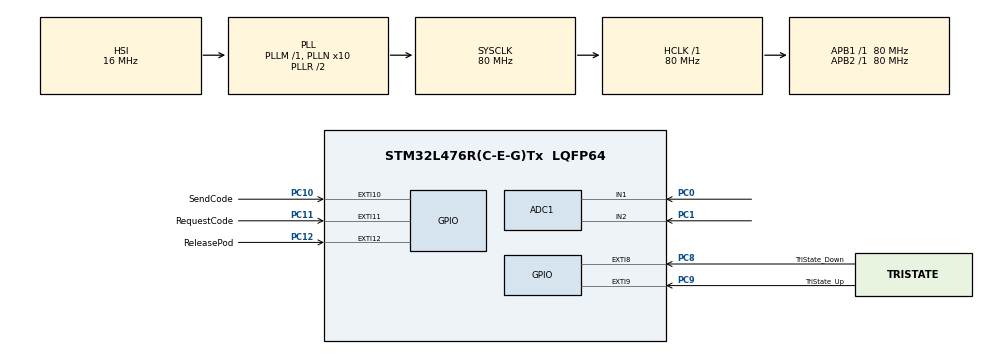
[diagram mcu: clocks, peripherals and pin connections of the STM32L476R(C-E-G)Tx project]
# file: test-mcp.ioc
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ADC1.Channel-0\#ChannelRegularConversion=ADC_CHANNEL_1
ADC1.Channel-1\#ChannelRegularConversion=ADC_CHANNEL_2
ADC1.NbrOfConversion=2
ADC1.NbrOfConversionFlag=1
ADC1.OffsetNumber-0\#ChannelRegularConversion=ADC_OFFSET_NONE
ADC1.OffsetNumber-1\#ChannelRegularConversion=ADC_OFFSET_NONE
ADC1.Rank-0\#ChannelRegularConversion=1
ADC1.Rank-1\#ChannelRegularConversion=2
ADC1.SamplingTime-0\#ChannelRegularConversion=ADC_SAMPLETIME_640CYCLES_5
ADC1.SamplingTime-1\#ChannelRegularConversion=ADC_SAMPLETIME_640CYCLES_5
ADC1.master=1
Dma.ADC1.0.Direction=DMA_PERIPH_TO_MEMORY
Dma.ADC1.0.Instance=DMA1_Channel1
Dma.ADC1.0.MemDataAlignment=DMA_MDATAALIGN_HALFWORD
Dma.ADC1.0.MemInc=DMA_MINC_ENABLE
Dma.ADC1.0.Mode=DMA_NORMAL
Dma.ADC1.0.PeriphDataAlignment=DMA_PDATAALIGN_HALFWORD
Dma.ADC1.0.PeriphInc=DMA_PINC_DISABLE
Dma.ADC1.0.Priority=DMA_PRIORITY_LOW
Dma.Request0=ADC1
Mcu.Family=STM32L4
Mcu.Name=STM32L476R(C-E-G)Tx
Mcu.Package=LQFP64
NVIC.ADC1_2_IRQn=true\:0\:0\:false\:false\:true\:true\:true\:true
NVIC.DMA1_Channel1_IRQn=true\:0\:0\:false\:false\:true\:false\:true\:true
NVIC.EXTI15_10_IRQn=true\:0\:0\:false\:false\:true\:true\:true\:true
NVIC.EXTI9_5_IRQn=true\:0\:0\:false\:false\:true\:true\:true\:true
NVIC.PriorityGroup=NVIC_PRIORITYGROUP_4
PA13\ (JTMS-SWDIO).Mode=Serial_Wire
PA13\ (JTMS-SWDIO).Signal=SYS_JTMS-SWDIO
PA14\ (JTCK-SWCLK).Mode=Serial_Wire
PA14\ (JTCK-SWCLK).Signal=SYS_JTCK-SWCLK
PC0.Signal=ADCx_IN1
PC1.Signal=ADCx_IN2
PC10.GPIO_Label=SendCode
PC10.Signal=GPXTI10
PC11.GPIO_Label=RequestCode
PC11.Signal=GPXTI11
PC12.GPIO_Label=ReleasePod
PC12.Signal=GPXTI12
PC8.GPIO_Label=TriState_Down
PC8.Signal=GPXTI8
PC9.GPIO_Label=TriState_Up
PC9.Signal=GPXTI9
ProjectManager.HeapSize=0x200
ProjectManager.StackSize=0x400
ProjectManager.TargetToolchain=STM32CubeIDE
RCC.ADCFreq_Value=64000000
RCC.AHBFreq_Value=80000000
RCC.APB1Freq_Value=80000000
RCC.APB1TimFreq_Value=80000000
RCC.APB2Freq_Value=80000000
RCC.APB2TimFreq_Value=80000000
RCC.CortexFreq_Value=80000000
RCC.HCLKFreq_Value=80000000
RCC.HSE_VALUE=8000000
RCC.HSI_VALUE=16000000
RCC.LSE_VALUE=32768
RCC.MSI_VALUE=4000000
RCC.PLLN=10
RCC.PLLSourceVirtual=RCC_PLLSOURCE_HSI
RCC.SYSCLKFreq_VALUE=80000000
RCC.SYSCLKSource=RCC_SYSCLKSOURCE_PLLCLK
RCC.USBFreq_Value=64000000
RCC.VCOOutputFreq_Value=160000000
SH.ADCx_IN1.0=ADC1_IN1,IN1-Single-Ended
SH.ADCx_IN2.0=ADC1_IN2,IN2-Single-Ended
board=custom

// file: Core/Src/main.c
/* USER CODE BEGIN Header */
/**
  ******************************************************************************
  * @file           : main.c
  * @brief          : Main program body
  ******************************************************************************
  * @attention
  *
  * Copyright (c) 2024 STMicroelectronics.
  * All rights reserved.
  *
  * This software is licensed under terms that can be found in the LICENSE file
  * in the root directory of this software component.
  * If no LICENSE file comes with this software, it is provided AS-IS.
  *
  ******************************************************************************
  */
/* USER CODE END Header */
#include "main.h"

/* USER CODE BEGIN Includes */
#include "Custom/util.h"
#include "Custom/timed-lock.h"
/* USER CODE END Includes */

ADC_HandleTypeDef hadc1;
DMA_HandleTypeDef hdma_adc1;

/* USER CODE BEGIN PV */
timed_lock_t send_code_lock, req_code_lock, release_pod_lock, tristate_lock;
volatile uint32_t n_send_code = 0, n_req_code = 0, n_release_pod = 0;
volatile tristate_t tristate = TRISTATE_UNDEF;
volatile uint16_t adc_data[2] = {0};
stepper_motor_t stepper;
/* USER CODE END PV */

void SystemClock_Config(void);
static void MX_GPIO_Init(void);
static void MX_DMA_Init(void);
static void MX_ADC1_Init(void);

/* USER CODE BEGIN 0 */
void HAL_GPIO_EXTI_Callback(uint16_t pin) {
  switch (pin) {
  case SendCode_Pin:
	  timed_lock_call(&send_code_lock, HAL_GetTick());
	  break;
  case RequestCode_Pin:
  	  timed_lock_call(&req_code_lock, HAL_GetTick());
  	  break;
  case ReleasePod_Pin:
  	  timed_lock_call(&release_pod_lock, HAL_GetTick());
  	  break;
  case TriState_Up_Pin:
  case TriState_Down_Pin:
	  timed_lock_call(&tristate_lock, HAL_GetTick());
	  break;
  }
}

void on_send_code(void) {
	n_send_code++;
	start_adc();
}

void on_request_code(void) {
	n_req_code++;
	start_adc();
}

void on_release_pod(void) {
	n_release_pod++;
	start_adc();
}

void start_adc(void) {
	HAL_ADC_Start_DMA(&hadc1, (uint16_t *) adc_data, 2);
}

// handler to tri-state switch toggle
void on_tristate_toggle(void) {
	// read switch position
	tristate_t switch_position = read_tristate_pins(TriState_Down_GPIO_Port, TriState_Down_Pin, TriState_Up_GPIO_Port, TriState_Up_Pin);

	// calculate new state using switch as the transition
	tristate = tristate_transition(tristate, switch_position);
}

void setup(void) {
	timed_lock_init(&send_code_lock, 10, on_send_code);
	timed_lock_init(&req_code_lock, 10, on_request_code);
	timed_lock_init(&release_pod_lock, 10, on_release_pod);
	timed_lock_init(&tristate_lock, 10, on_tristate_toggle);
}

void loop(void) {

}
/* USER CODE END 0 */

int main(void)
{

  /* MCU Configuration--------------------------------------------------------*/

  /* Reset of all peripherals, Initializes the Flash interface and the Systick. */
  HAL_Init();

  /* Configure the system clock */
  SystemClock_Config();

  /* Initialize all configured peripherals */
  MX_GPIO_Init();
  MX_DMA_Init();
  MX_ADC1_Init();
  /* USER CODE BEGIN 2 */
  setup();
  /* USER CODE END 2 */

  /* Infinite loop */
  /* USER CODE BEGIN WHILE */
  while (1)
  {
	loop();
    /* USER CODE END WHILE */

  }
}

void SystemClock_Config(void)
{
  RCC_OscInitTypeDef RCC_OscInitStruct = {0};
  RCC_ClkInitTypeDef RCC_ClkInitStruct = {0};

  /** Configure the main internal regulator output voltage
  */
  if (HAL_PWREx_ControlVoltageScaling(PWR_REGULATOR_VOLTAGE_SCALE1) != HAL_OK)
  {
    Error_Handler();
  }

  /** Initializes the RCC Oscillators according to the specified parameters
  * in the RCC_OscInitTypeDef structure.
  */
  RCC_OscInitStruct.OscillatorType = RCC_OSCILLATORTYPE_HSI;
  RCC_OscInitStruct.HSIState = RCC_HSI_ON;
  RCC_OscInitStruct.HSICalibrationValue = RCC_HSICALIBRATION_DEFAULT;
  RCC_OscInitStruct.PLL.PLLState = RCC_PLL_ON;
  RCC_OscInitStruct.PLL.PLLSource = RCC_PLLSOURCE_HSI;
  RCC_OscInitStruct.PLL.PLLM = 1;
  RCC_OscInitStruct.PLL.PLLN = 10;
  RCC_OscInitStruct.PLL.PLLP = RCC_PLLP_DIV7;
  RCC_OscInitStruct.PLL.PLLQ = RCC_PLLQ_DIV2;
  RCC_OscInitStruct.PLL.PLLR = RCC_PLLR_DIV2;
  if (HAL_RCC_OscConfig(&RCC_OscInitStruct) != HAL_OK)
  {
    Error_Handler();
  }

  /** Initializes the CPU, AHB and APB buses clocks
  */
  RCC_ClkInitStruct.ClockType = RCC_CLOCKTYPE_HCLK|RCC_CLOCKTYPE_SYSCLK
                              |RCC_CLOCKTYPE_PCLK1|RCC_CLOCKTYPE_PCLK2;
  RCC_ClkInitStruct.SYSCLKSource = RCC_SYSCLKSOURCE_PLLCLK;
  RCC_ClkInitStruct.AHBCLKDivider = RCC_SYSCLK_DIV1;
  RCC_ClkInitStruct.APB1CLKDivider = RCC_HCLK_DIV1;
  RCC_ClkInitStruct.APB2CLKDivider = RCC_HCLK_DIV1;

  if (HAL_RCC_ClockConfig(&RCC_ClkInitStruct, FLASH_LATENCY_4) != HAL_OK)
  {
    Error_Handler();
  }
}

static void MX_ADC1_Init(void)
{

  ADC_MultiModeTypeDef multimode = {0};
  ADC_ChannelConfTypeDef sConfig = {0};

  /** Common config
  */
  hadc1.Instance = ADC1;
  hadc1.Init.ClockPrescaler = ADC_CLOCK_ASYNC_DIV1;
  hadc1.Init.Resolution = ADC_RESOLUTION_12B;
  hadc1.Init.DataAlign = ADC_DATAALIGN_RIGHT;
  hadc1.Init.ScanConvMode = ADC_SCAN_ENABLE;
  hadc1.Init.EOCSelection = ADC_EOC_SINGLE_CONV;
  hadc1.Init.LowPowerAutoWait = DISABLE;
  hadc1.Init.ContinuousConvMode = DISABLE;
  hadc1.Init.NbrOfConversion = 2;
  hadc1.Init.DiscontinuousConvMode = DISABLE;
  hadc1.Init.ExternalTrigConv = ADC_SOFTWARE_START;
  hadc1.Init.ExternalTrigConvEdge = ADC_EXTERNALTRIGCONVEDGE_NONE;
  hadc1.Init.DMAContinuousRequests = DISABLE;
  hadc1.Init.Overrun = ADC_OVR_DATA_PRESERVED;
  hadc1.Init.OversamplingMode = DISABLE;
  if (HAL_ADC_Init(&hadc1) != HAL_OK)
  {
    Error_Handler();
  }

  /** Configure the ADC multi-mode
  */
  multimode.Mode = ADC_MODE_INDEPENDENT;
  if (HAL_ADCEx_MultiModeConfigChannel(&hadc1, &multimode) != HAL_OK)
  {
    Error_Handler();
  }

  /** Configure Regular Channel
  */
  sConfig.Channel = ADC_CHANNEL_1;
  sConfig.Rank = ADC_REGULAR_RANK_1;
  sConfig.SamplingTime = ADC_SAMPLETIME_640CYCLES_5;
  sConfig.SingleDiff = ADC_SINGLE_ENDED;
  sConfig.OffsetNumber = ADC_OFFSET_NONE;
  sConfig.Offset = 0;
  if (HAL_ADC_ConfigChannel(&hadc1, &sConfig) != HAL_OK)
  {
    Error_Handler();
  }

  /** Configure Regular Channel
  */
  sConfig.Channel = ADC_CHANNEL_2;
  sConfig.Rank = ADC_REGULAR_RANK_2;
  if (HAL_ADC_ConfigChannel(&hadc1, &sConfig) != HAL_OK)
  {
    Error_Handler();
  }

}

static void MX_DMA_Init(void)
{

  /* DMA controller clock enable */
  __HAL_RCC_DMA1_CLK_ENABLE();

  /* DMA interrupt init */
  /* DMA1_Channel1_IRQn interrupt configuration */
  HAL_NVIC_SetPriority(DMA1_Channel1_IRQn, 0, 0);
  HAL_NVIC_EnableIRQ(DMA1_Channel1_IRQn);

}

static void MX_GPIO_Init(void)
{
  GPIO_InitTypeDef GPIO_InitStruct = {0};

  /* GPIO Ports Clock Enable */
  __HAL_RCC_GPIOC_CLK_ENABLE();
  __HAL_RCC_GPIOA_CLK_ENABLE();

  /*Configure GPIO pins : TriState_Down_Pin TriState_Up_Pin SendCode_Pin RequestCode_Pin
                           ReleasePod_Pin */
  GPIO_InitStruct.Pin = TriState_Down_Pin|TriState_Up_Pin|SendCode_Pin|RequestCode_Pin
                          |ReleasePod_Pin;
  GPIO_InitStruct.Mode = GPIO_MODE_IT_RISING;
  GPIO_InitStruct.Pull = GPIO_NOPULL;
  HAL_GPIO_Init(GPIOC, &GPIO_InitStruct);

  /* EXTI interrupt init*/
  HAL_NVIC_SetPriority(EXTI9_5_IRQn, 0, 0);
  HAL_NVIC_EnableIRQ(EXTI9_5_IRQn);

  HAL_NVIC_SetPriority(EXTI15_10_IRQn, 0, 0);
  HAL_NVIC_EnableIRQ(EXTI15_10_IRQn);

}

void Error_Handler(void)
{
  __disable_irq();
  while (1)
  {
  }
}
